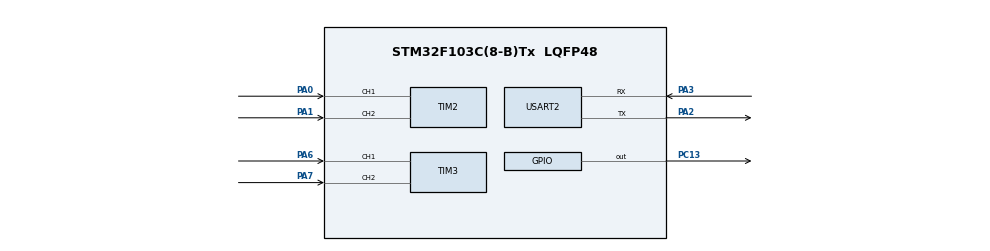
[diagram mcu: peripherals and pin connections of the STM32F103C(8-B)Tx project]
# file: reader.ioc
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Mcu.Family=STM32F1
Mcu.Name=STM32F103C(8-B)Tx
Mcu.Package=LQFP48
NVIC.PriorityGroup=NVIC_PRIORITYGROUP_4
NVIC.TIM2_IRQn=true\:0\:0\:false\:false\:true\:true\:true
NVIC.TIM3_IRQn=true\:0\:0\:false\:false\:true\:true\:true
NVIC.USART2_IRQn=true\:0\:0\:false\:false\:true\:true\:true
PA0-WKUP.GPIO_PuPd=GPIO_PULLUP
PA0-WKUP.Signal=S_TIM2_CH1_ETR
PA1.GPIO_PuPd=GPIO_PULLUP
PA1.Signal=S_TIM2_CH2
PA13.Mode=Serial_Wire
PA13.Signal=SYS_JTMS-SWDIO
PA14.Mode=Serial_Wire
PA14.Signal=SYS_JTCK-SWCLK
PA2.Mode=Asynchronous
PA2.Signal=USART2_TX
PA3.GPIO_PuPd=GPIO_PULLUP
PA3.Mode=Asynchronous
PA3.Signal=USART2_RX
PA6.GPIO_PuPd=GPIO_PULLUP
PA6.Signal=S_TIM3_CH1
PA7.GPIO_PuPd=GPIO_PULLUP
PA7.Signal=S_TIM3_CH2
PC13-TAMPER-RTC.Signal=GPIO_Output
PD0-OSC_IN.Mode=HSE-External-Oscillator
PD0-OSC_IN.Signal=RCC_OSC_IN
PD1-OSC_OUT.Mode=HSE-External-Oscillator
PD1-OSC_OUT.Signal=RCC_OSC_OUT
ProjectManager.HeapSize=0x200
ProjectManager.StackSize=0x400
ProjectManager.TargetToolchain=STM32CubeIDE
RCC.APB1Freq_Value=8000000
RCC.APB2Freq_Value=8000000
RCC.SYSCLKSource=RCC_SYSCLKSOURCE_PLLCLK
SH.S_TIM2_CH1_ETR.0=TIM2_CH1,Encoder_Interface
SH.S_TIM2_CH2.0=TIM2_CH2,Encoder_Interface
SH.S_TIM3_CH1.0=TIM3_CH1,Encoder_Interface
SH.S_TIM3_CH2.0=TIM3_CH2,Encoder_Interface
TIM2.EncoderMode=TIM_ENCODERMODE_TI12
TIM2.IC1Filter=1
TIM2.IC1Polarity=TIM_ICPOLARITY_FALLING
TIM2.IC2Filter=1
TIM2.IC2Polarity=TIM_ICPOLARITY_FALLING
TIM3.EncoderMode=TIM_ENCODERMODE_TI12
TIM3.IC1Filter=1
TIM3.IC1Polarity=TIM_ICPOLARITY_FALLING
TIM3.IC2Filter=1
TIM3.IC2Polarity=TIM_ICPOLARITY_FALLING
USART2.VirtualMode=VM_ASYNC
board=custom

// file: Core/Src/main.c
/* USER CODE BEGIN Header */
/**
  ******************************************************************************
  * @file           : main.c
  * @brief          : Main program body
  ******************************************************************************
  * @attention
  *
  * <h2><center>&copy; Copyright (c) 2024 STMicroelectronics.
  * All rights reserved.</center></h2>
  *
  * This software component is licensed by ST under BSD 3-Clause license,
  * the "License"; You may not use this file except in compliance with the
  * License. You may obtain a copy of the License at:
  *                        opensource.org/licenses/BSD-3-Clause
  *
  ******************************************************************************
  */
/* USER CODE END Header */
#include "main.h"

/* USER CODE BEGIN Includes */
#include "string.h"
/* USER CODE END Includes */

/* USER CODE BEGIN PTD */
	int64_t counter = 0;
	int counterOneOverFlow = 0;
	int counterTwoOverFlow = 0;
	uint64_t oldCounterTwoValue = 0;
	uint64_t curCounterTwoValue = 0;
	int counterTwoDirect = 2;

	uint64_t curCounterOneValue = 0;
	uint64_t oldCounterOneValue = 0;
	int counterOneDirect = 2;
	int sumTest = 0;
	int testOldValue;
	int testCurValue;
	int16_t reader = 0;
	int16_t reader2 = 0;
	int64_t testing = 0;
	uint64_t counter2 = 0;
	int8_t dataReceiver[1];
	int8_t transmitData[29];
/* USER CODE END PTD */

TIM_HandleTypeDef htim2;
TIM_HandleTypeDef htim3;

UART_HandleTypeDef huart2;

void SystemClock_Config(void);
static void MX_GPIO_Init(void);
static void MX_TIM2_Init(void);
static void MX_TIM3_Init(void);
static void MX_USART2_UART_Init(void);
/* USER CODE BEGIN PFP */

void HAL_UART_RxCpltCallback(UART_HandleTypeDef *huart) {
    if (huart->Instance == USART2) {
    	HAL_GPIO_TogglePin(GPIOC, GPIO_PIN_13);
        // USART2 DMA reception complete callback
        // Data is available in usart_rx_buffer
    	if(dataReceiver[0] == 'd'){
    		int temp = counterTwoOverFlow*65536 + __HAL_TIM_GET_COUNTER(&htim3);
    		int temp2 = counterOneOverFlow*65536 + __HAL_TIM_GET_COUNTER(&htim2);

    		    // Format the numbers into the string
    		snprintf(transmitData, sizeof(transmitData), "{%d;%d}", temp2, temp);
    		HAL_UART_Transmit(&huart2, (uint8_t *)transmitData, strlen(transmitData), 10);
    	}else if(dataReceiver[0] == 'a'){
    		__HAL_TIM_SetCounter(&htim2, 0);
    		counterOneOverFlow = 0;
    		curCounterOneValue = 0;
    		counter = 0;
    	} else if(dataReceiver[0] == 'b'){
    		counter2 = 0;
    		counterTwoOverFlow = 0;
    		curCounterTwoValue = 0;
    		__HAL_TIM_SetCounter(&htim3, 0);
    	}
    	HAL_UART_Receive_IT(&huart2, dataReceiver, 1);
    }

}
void HAL_TIM_PeriodElapsedCallback(TIM_HandleTypeDef *htim) {
    if (htim->Instance == TIM2) {
        // Perform your actions here
        // For example, toggle a pin, update variables, etc.
    	if(__HAL_TIM_IS_TIM_COUNTING_DOWN(&htim2)){
    		counterOneOverFlow--;
    	}else{
    		counterOneOverFlow++;
    	}
    }
    if (htim->Instance == TIM3) {
            // Perform your actions here
            // For example, toggle a pin, update variables, etc.

    	if(__HAL_TIM_IS_TIM_COUNTING_DOWN(&htim3)){
    	    	counterTwoOverFlow--;
    	    }else{
    	    	counterTwoOverFlow++;
    	    }
        }
}

/* USER CODE END PFP */

int main(void)
{

  /* MCU Configuration--------------------------------------------------------*/

  /* Reset of all peripherals, Initializes the Flash interface and the Systick. */
  HAL_Init();

  /* Configure the system clock */
  SystemClock_Config();

  /* Initialize all configured peripherals */
  MX_GPIO_Init();
  MX_TIM2_Init();
  MX_TIM3_Init();
  MX_USART2_UART_Init();
  /* USER CODE BEGIN 2 */
  HAL_TIM_Base_Start_IT(&htim2);
  HAL_TIM_Base_Start_IT(&htim3);
  HAL_TIM_Encoder_Start_IT(&htim2, TIM_CHANNEL_ALL);
  HAL_TIM_Encoder_Start_IT(&htim3, TIM_CHANNEL_ALL);
  HAL_GPIO_WritePin(GPIOC, GPIO_PIN_13, 0);
  HAL_UART_Receive_IT(&huart2, dataReceiver, 1);
  /* USER CODE END 2 */

  /* Infinite loop */
  /* USER CODE BEGIN WHILE */
  while (1)
  {
	  //HAL_GPIO_TogglePin(GPIOC, GPIO_PIN_13);
	  	HAL_Delay(100);

    /* USER CODE END WHILE */

  }
}

void SystemClock_Config(void)
{
  RCC_OscInitTypeDef RCC_OscInitStruct = {0};
  RCC_ClkInitTypeDef RCC_ClkInitStruct = {0};

  /** Initializes the RCC Oscillators according to the specified parameters
  * in the RCC_OscInitTypeDef structure.
  */
  RCC_OscInitStruct.OscillatorType = RCC_OSCILLATORTYPE_HSI;
  RCC_OscInitStruct.HSIState = RCC_HSI_ON;
  RCC_OscInitStruct.HSICalibrationValue = RCC_HSICALIBRATION_DEFAULT;
  RCC_OscInitStruct.PLL.PLLState = RCC_PLL_ON;
  RCC_OscInitStruct.PLL.PLLSource = RCC_PLLSOURCE_HSI_DIV2;
  RCC_OscInitStruct.PLL.PLLMUL = RCC_PLL_MUL2;
  if (HAL_RCC_OscConfig(&RCC_OscInitStruct) != HAL_OK)
  {
    Error_Handler();
  }
  /** Initializes the CPU, AHB and APB buses clocks
  */
  RCC_ClkInitStruct.ClockType = RCC_CLOCKTYPE_HCLK|RCC_CLOCKTYPE_SYSCLK
                              |RCC_CLOCKTYPE_PCLK1|RCC_CLOCKTYPE_PCLK2;
  RCC_ClkInitStruct.SYSCLKSource = RCC_SYSCLKSOURCE_PLLCLK;
  RCC_ClkInitStruct.AHBCLKDivider = RCC_SYSCLK_DIV1;
  RCC_ClkInitStruct.APB1CLKDivider = RCC_HCLK_DIV1;
  RCC_ClkInitStruct.APB2CLKDivider = RCC_HCLK_DIV1;

  if (HAL_RCC_ClockConfig(&RCC_ClkInitStruct, FLASH_LATENCY_0) != HAL_OK)
  {
    Error_Handler();
  }
}

static void MX_TIM2_Init(void)
{

  TIM_Encoder_InitTypeDef sConfig = {0};
  TIM_MasterConfigTypeDef sMasterConfig = {0};

  htim2.Instance = TIM2;
  htim2.Init.Prescaler = 0;
  htim2.Init.CounterMode = TIM_COUNTERMODE_UP;
  htim2.Init.Period = 65535;
  htim2.Init.ClockDivision = TIM_CLOCKDIVISION_DIV1;
  htim2.Init.AutoReloadPreload = TIM_AUTORELOAD_PRELOAD_DISABLE;
  sConfig.EncoderMode = TIM_ENCODERMODE_TI12;
  sConfig.IC1Polarity = TIM_ICPOLARITY_FALLING;
  sConfig.IC1Selection = TIM_ICSELECTION_DIRECTTI;
  sConfig.IC1Prescaler = TIM_ICPSC_DIV1;
  sConfig.IC1Filter = 1;
  sConfig.IC2Polarity = TIM_ICPOLARITY_FALLING;
  sConfig.IC2Selection = TIM_ICSELECTION_DIRECTTI;
  sConfig.IC2Prescaler = TIM_ICPSC_DIV1;
  sConfig.IC2Filter = 1;
  if (HAL_TIM_Encoder_Init(&htim2, &sConfig) != HAL_OK)
  {
    Error_Handler();
  }
  sMasterConfig.MasterOutputTrigger = TIM_TRGO_RESET;
  sMasterConfig.MasterSlaveMode = TIM_MASTERSLAVEMODE_DISABLE;
  if (HAL_TIMEx_MasterConfigSynchronization(&htim2, &sMasterConfig) != HAL_OK)
  {
    Error_Handler();
  }

}

static void MX_TIM3_Init(void)
{

  TIM_Encoder_InitTypeDef sConfig = {0};
  TIM_MasterConfigTypeDef sMasterConfig = {0};

  htim3.Instance = TIM3;
  htim3.Init.Prescaler = 0;
  htim3.Init.CounterMode = TIM_COUNTERMODE_UP;
  htim3.Init.Period = 65535;
  htim3.Init.ClockDivision = TIM_CLOCKDIVISION_DIV1;
  htim3.Init.AutoReloadPreload = TIM_AUTORELOAD_PRELOAD_DISABLE;
  sConfig.EncoderMode = TIM_ENCODERMODE_TI12;
  sConfig.IC1Polarity = TIM_ICPOLARITY_FALLING;
  sConfig.IC1Selection = TIM_ICSELECTION_DIRECTTI;
  sConfig.IC1Prescaler = TIM_ICPSC_DIV1;
  sConfig.IC1Filter = 1;
  sConfig.IC2Polarity = TIM_ICPOLARITY_FALLING;
  sConfig.IC2Selection = TIM_ICSELECTION_DIRECTTI;
  sConfig.IC2Prescaler = TIM_ICPSC_DIV1;
  sConfig.IC2Filter = 1;
  if (HAL_TIM_Encoder_Init(&htim3, &sConfig) != HAL_OK)
  {
    Error_Handler();
  }
  sMasterConfig.MasterOutputTrigger = TIM_TRGO_RESET;
  sMasterConfig.MasterSlaveMode = TIM_MASTERSLAVEMODE_DISABLE;
  if (HAL_TIMEx_MasterConfigSynchronization(&htim3, &sMasterConfig) != HAL_OK)
  {
    Error_Handler();
  }

}

static void MX_USART2_UART_Init(void)
{

  huart2.Instance = USART2;
  huart2.Init.BaudRate = 115200;
  huart2.Init.WordLength = UART_WORDLENGTH_8B;
  huart2.Init.StopBits = UART_STOPBITS_1;
  huart2.Init.Parity = UART_PARITY_NONE;
  huart2.Init.Mode = UART_MODE_TX_RX;
  huart2.Init.HwFlowCtl = UART_HWCONTROL_NONE;
  huart2.Init.OverSampling = UART_OVERSAMPLING_16;
  if (HAL_UART_Init(&huart2) != HAL_OK)
  {
    Error_Handler();
  }

}

static void MX_GPIO_Init(void)
{
  GPIO_InitTypeDef GPIO_InitStruct = {0};

  /* GPIO Ports Clock Enable */
  __HAL_RCC_GPIOC_CLK_ENABLE();
  __HAL_RCC_GPIOD_CLK_ENABLE();
  __HAL_RCC_GPIOA_CLK_ENABLE();

  /*Configure GPIO pin Output Level */
  HAL_GPIO_WritePin(GPIOC, GPIO_PIN_13, GPIO_PIN_RESET);

  /*Configure GPIO pin : PC13 */
  GPIO_InitStruct.Pin = GPIO_PIN_13;
  GPIO_InitStruct.Mode = GPIO_MODE_OUTPUT_PP;
  GPIO_InitStruct.Pull = GPIO_NOPULL;
  GPIO_InitStruct.Speed = GPIO_SPEED_FREQ_LOW;
  HAL_GPIO_Init(GPIOC, &GPIO_InitStruct);

}

void Error_Handler(void)
{
  __disable_irq();
  while (1)
  {
  }
}

/************************ (C) COPYRIGHT STMicroelectronics *****END OF FILE****/
